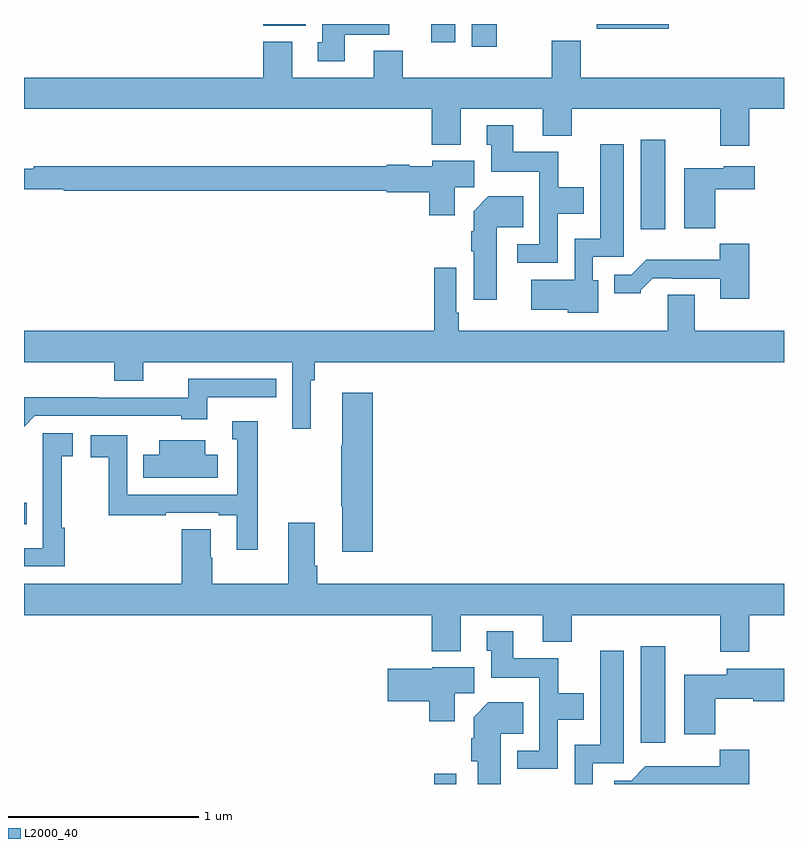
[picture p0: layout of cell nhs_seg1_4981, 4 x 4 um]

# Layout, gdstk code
import gdstk
lib = gdstk.Library(unit=1e-6, precision=1e-09)
def R(c, l, rs):  # rectangles x0, y0, x1, y1
    for r in rs: c.add(gdstk.rectangle(r[:2], r[2:], *l))
def P(c, l, *ps):  # polygons
    for p in ps: c.add(gdstk.Polygon(p, *l))
L2000_40 = (2000, 40)

nhs_seg1_4981 = lib.new_cell('nhs_seg1_4981')
R(nhs_seg1_4981, L2000_40, [(383.158,528.199,383.274,528.253), (384.245,528.417,384.376,528.925), (381,529.566,381.014,529.679), (384.245,531.12,384.376,531.589), (383.357,532.08,383.488,532.199), (383.144,532.104,383.269,532.199), (384.014,532.175,384.394,532.199), (382.26,532.19,382.483,532.199)])
P(nhs_seg1_4981, L2000_40, [(382.687,532.142),(382.923,532.142),(382.923,532.199),(382.571,532.199),(382.571,532.104),(382.547,532.104),(382.547,532.002),(382.687,532.002)],
  [(384.818,531.752),(385,531.752),(385,531.916),(383.93,531.916),(383.93,532.111),(383.777,532.111),(383.777,531.916),(382.994,531.916),(382.994,532.057),(382.841,532.057),(382.841,531.916),(382.411,531.916),(382.411,532.105),(382.259,532.105),(382.259,531.916),(381,531.916),(381,531.752),(383.147,531.752),(383.147,531.563),(383.299,531.563),(383.299,531.752),(383.729,531.752),(383.729,531.611),(383.882,531.611),(383.882,531.752),(384.665,531.752),(384.665,531.558),(384.818,531.558)],
  [(383.808,531.2),(383.947,531.2),(383.947,531.34),(383.811,531.34),(383.811,531.526),(383.575,531.526),(383.575,531.667),(383.435,531.667),(383.435,531.564),(383.459,531.564),(383.459,531.422),(383.712,531.422),(383.712,531.039),(383.595,531.039),(383.595,530.943),(383.808,530.943)],
  [(384.022,530.85),(383.994,530.85),(383.994,530.973),(384.157,530.973),(384.157,531.565),(384.032,531.565),(384.032,531.07),(383.898,531.07),(383.898,530.854),(383.67,530.854),(383.67,530.696),(383.862,530.696),(383.862,530.678),(384.022,530.678)],
  [(383.266,531.34),(383.371,531.34),(383.371,531.478),(383.148,531.478),(383.148,531.451),(383.028,531.451),(383.028,531.459),(382.908,531.459),(382.908,531.451),(381.052,531.451),(381.052,531.438),(381,531.438),(381,531.33),(381.208,531.33),(381.208,531.322),(382.908,531.322),(382.908,531.314),(383.132,531.314),(383.132,531.192),(383.266,531.192)],
  [(384.638,531.329),(384.847,531.329),(384.847,531.451),(384.684,531.451),(384.684,531.439),(384.476,531.439),(384.476,531.125),(384.638,531.125)],
  [(383.488,531.128),(383.627,531.128),(383.627,531.292),(383.444,531.292),(383.366,531.214),(383.366,531.107),(383.354,531.107),(383.354,531.004),(383.366,531.004),(383.366,530.748),(383.488,530.748)],
  [(384.818,531.043),(384.663,531.043),(384.663,530.959),(384.274,530.959),(384.195,530.88),(384.107,530.88),(384.107,530.783),(384.246,530.783),(384.246,530.798),(384.31,530.862),(384.409,530.862),(384.409,530.859),(384.665,530.859),(384.665,530.754),(384.818,530.754)],
  [(382.51,530.324),(382.529,530.324),(382.529,530.42),(385,530.42),(385,530.584),(384.529,530.584),(384.529,530.774),(384.389,530.774),(384.389,530.584),(383.287,530.584),(383.287,530.68),(383.274,530.68),(383.274,530.917),(383.158,530.917),(383.158,530.584),(381,530.584),(381,530.42),(381.476,530.42),(381.476,530.321),(381.628,530.321),(381.628,530.42),(382.413,530.42),(382.413,530.07),(382.51,530.07)],
  [(381.057,530.136),(381.828,530.136),(381.828,530.12),(381.964,530.12),(381.964,530.235),(382.328,530.235),(382.328,530.331),(381.865,530.331),(381.865,530.232),(381.392,530.232),(381.392,530.234),(381,530.234),(381,530.079)],
  [(382.835,530.257),(382.676,530.257),(382.676,529.982),(382.669,529.982),(382.669,529.66),(382.676,529.66),(382.676,529.422),(382.835,529.422)],
  [(382.231,530.107),(382.097,530.107),(382.097,530.013),(382.122,530.013),(382.122,529.722),(381.543,529.722),(381.543,530.034),(381.351,530.034),(381.351,529.918),(381.445,529.918),(381.445,529.614),(381.746,529.614),(381.746,529.626),(382.025,529.626),(382.025,529.614),(382.121,529.614),(382.121,529.431),(382.231,529.431)],
  [(381.215,529.547),(381.198,529.547),(381.198,529.923),(381.256,529.923),(381.256,530.044),(381.098,530.044),(381.098,529.768),(381.099,529.768),(381.099,529.44),(381,529.44),(381,529.344),(381.215,529.344)],
  [(382.021,529.933),(381.955,529.933),(381.955,530.008),(381.713,530.008),(381.713,529.933),(381.628,529.933),(381.628,529.811),(382.021,529.811)],
  [(384.818,529.088),(385,529.088),(385,529.252),(382.544,529.252),(382.544,529.348),(382.531,529.348),(382.531,529.573),(382.391,529.573),(382.391,529.252),(381.99,529.252),(381.99,529.391),(381.982,529.391),(381.982,529.541),(381.83,529.541),(381.83,529.252),(381,529.252),(381,529.088),(383.147,529.088),(383.147,528.899),(383.299,528.899),(383.299,529.088),(383.729,529.088),(383.729,528.947),(383.882,528.947),(383.882,529.088),(384.665,529.088),(384.665,528.894),(384.818,528.894)],
  [(383.808,528.536),(383.947,528.536),(383.947,528.676),(383.811,528.676),(383.811,528.862),(383.575,528.862),(383.575,529.003),(383.435,529.003),(383.435,528.9),(383.459,528.9),(383.459,528.758),(383.712,528.758),(383.712,528.375),(383.595,528.375),(383.595,528.279),(383.808,528.279)],
  [(383.994,528.309),(384.157,528.309),(384.157,528.901),(384.032,528.901),(384.032,528.406),(383.898,528.406),(383.898,528.199),(383.994,528.199)],
  [(383.266,528.676),(383.371,528.676),(383.371,528.814),(383.148,528.814),(383.148,528.805),(382.914,528.805),(382.914,528.635),(383.132,528.635),(383.132,528.528),(383.266,528.528)],
  [(384.638,528.647),(384.837,528.647),(384.837,528.635),(385,528.635),(385,528.805),(384.698,528.805),(384.698,528.775),(384.476,528.775),(384.476,528.461),(384.638,528.461)],
  [(383.509,528.464),(383.627,528.464),(383.627,528.628),(383.444,528.628),(383.366,528.55),(383.366,528.44),(383.354,528.44),(383.354,528.318),(383.387,528.318),(383.387,528.199),(383.509,528.199)],
  [(384.818,528.379),(384.663,528.379),(384.663,528.292),(384.271,528.292),(384.195,528.216),(384.107,528.216),(384.107,528.199),(384.818,528.199)])

lib.write_gds('nhs_seg1_4981.gds')
